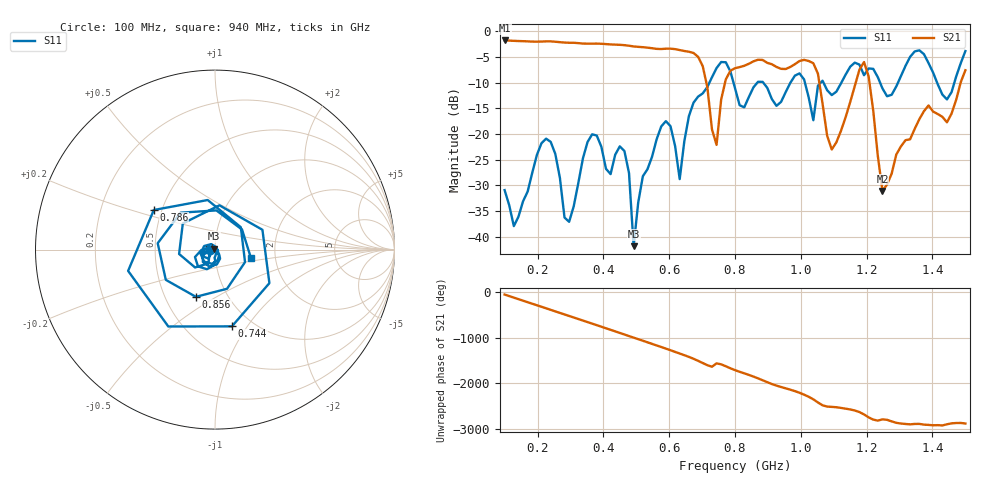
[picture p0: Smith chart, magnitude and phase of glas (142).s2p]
! NanoVNA-App
! Date: 2025-09-25 15:56:35
! Start: 100MHz Stop: 1,5GHz Points: 101
! S-Parameter data: F S11 S21 S12 S22
# Hz S RI R 50
!  Frequency  S11_Real  S11_Imag  S21_Real  S21_Imag  S12_Real  S12_Imag  S22_Real  S22_Imag
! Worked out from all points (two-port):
!   101 points, 100 MHz to 1.5 GHz, reference 50 ohm
!   highest |S21| = -1.80 dB at 100 MHz (marker M1); lowest = -31.1 dB at 1.248 GHz (marker M2)
!   |S21| within 3 dB of the highest: start of sweep to 684.4 MHz
!   lowest |S11| = -41.9 dB at 492 MHz (marker M3), VSWR 1.02, Z = 49.5 + j0.601 ohm
!   |S11| at or under -10 dB: start of sweep to 722.4 MHz; 795.4 MHz to 868.1 MHz (72.72 MHz wide, 8.74 % of centre); 885.6 MHz to 968.7 MHz (83.03 MHz wide, 8.96 % of centre) (the widest 3 of 7)
!   S12 and S22 are empty: the file has one direction only
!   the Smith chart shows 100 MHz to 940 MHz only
!   S11 on the Smith chart (normalised r, x): 100 MHz: 0.95, -0.01; 744 MHz: 0.81, -0.85; 786 MHz: 0.45, +0.24; 856 MHz: 0.71, -0.41; 940 MHz: 1.49, -0.14
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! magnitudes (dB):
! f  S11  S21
! 100 MHz  -31.0  -1.8
! 128 MHz  -38.0  -1.9
! 226 MHz  -20.9  -2.0
! 296 MHz  -37.1  -2.2
! 338 MHz  -24.8  -2.4
! 464 MHz  -23.3  -2.7
! 492 MHz  -41.9  -3.0
! 576 MHz  -18.5  -3.5
! 632 MHz  -28.8  -3.7
! 702 MHz  -12.1  -6.8
! 744 MHz  -7.2  -22.1
! 786 MHz  -7.8  -7.7
! 800 MHz  -11.1  -7.2
! 856 MHz  -10.9  -5.9
! 940 MHz  -13.8  -7.3
! 996 MHz  -8.2  -5.8
! 1.038 GHz  -17.3  -6.2
! 1.094 GHz  -12.4  -23.0
! 1.192 GHz  -8.6  -6.0
! 1.248 GHz  -11.1  -31.1
! 1.276 GHz  -12.4  -27.7
! 1.5 GHz  -3.9  -7.6
